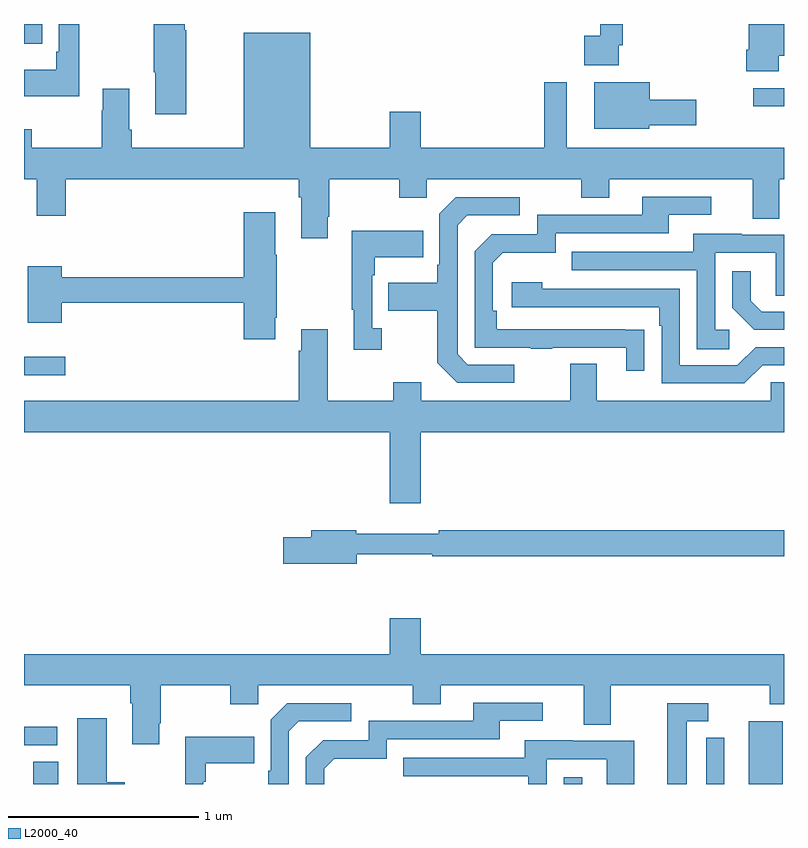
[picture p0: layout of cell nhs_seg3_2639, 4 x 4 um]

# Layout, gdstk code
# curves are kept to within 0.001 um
import gdstk
lib = gdstk.Library(unit=1e-6, precision=1e-09)
def R(c, l, rs):  # rectangles x0, y0, x1, y1
    for r in rs: c.add(gdstk.rectangle(r[:2], r[2:], *l))
def P(c, l, *ps):  # polygons
    for p in ps: c.add(gdstk.Polygon(p, *l))
L2000_40 = (2000, 40)

nhs_seg3_2639 = lib.new_cell('nhs_seg3_2639')
R(nhs_seg3_2639, L2000_40, [(247.049,696.4,247.18,696.518), (249.84,696.4,249.937,696.436), (250.814,696.4,250.993,696.73), (247,696.603,247.174,696.702), (247,698.552,247.216,698.649), (250.839,699.966,251,700.062), (247,700.295,247.097,700.4)])
P(nhs_seg3_2639, L2000_40, [(250.972,700.232),(251,700.232),(251,700.4),(250.814,700.4),(250.814,700.264),(250.802,700.264),(250.802,700.152),(250.972,700.152)],
  [(247.854,700.367),(247.846,700.367),(247.846,700.4),(247.684,700.4),(247.684,700.147),(247.691,700.147),(247.691,699.924),(247.854,699.924)],
  [(247.291,700.4),(247.182,700.4),(247.182,700.255),(247.17,700.255),(247.17,700.159),(247,700.159),(247,700.019),(247.291,700.019)],
  [(250.131,700.288),(250.151,700.288),(250.151,700.4),(250.034,700.4),(250.034,700.337),(249.948,700.337),(249.948,700.184),(250.131,700.184)],
  [(248.506,700.354),(248.156,700.354),(248.156,699.748),(247.568,699.748),(247.568,699.844),(247.555,699.844),(247.555,700.06),(247.415,700.06),(247.415,699.947),(247.408,699.947),(247.408,699.748),(247.041,699.748),(247.041,699.847),(247,699.847),(247,699.584),(247.067,699.584),(247.067,699.39),(247.22,699.39),(247.22,699.584),(248.447,699.584),(248.447,699.488),(248.459,699.488),(248.459,699.273),(248.599,699.273),(248.599,699.385),(248.607,699.385),(248.607,699.584),(248.974,699.584),(248.974,699.485),(249.12,699.485),(249.12,699.584),(249.934,699.584),(249.934,699.485),(250.081,699.485),(250.081,699.584),(250.835,699.584),(250.835,699.376),(250.975,699.376),(250.975,699.584),(251,699.584),(251,699.748),(249.856,699.748),(249.856,700.093),(249.739,700.093),(249.739,699.748),(249.088,699.748),(249.088,699.937),(248.924,699.937),(248.924,699.748),(248.506,699.748)],
  [(250.29,699.866),(250.537,699.866),(250.537,700.001),(250.294,700.001),(250.294,700.093),(250.001,700.093),(250.001,699.848),(250.29,699.848)],
  [(250.265,698.792),(249.488,698.793),(249.488,698.89),(249.468,698.89),(249.468,699.144),(249.521,699.197),(249.798,699.197),(249.798,699.3),(250.393,699.3),(250.393,699.396),(250.618,699.396),(250.618,699.492),(250.253,699.492),(250.253,699.396),(249.702,699.396),(249.702,699.294),(249.462,699.294),(249.372,699.204),(249.372,698.697),(249.667,698.697),(249.667,698.692),(249.779,698.692),(249.779,698.697),(250.169,698.697),(250.169,698.574),(250.265,698.574)],
  [(249.58,698.607),(249.336,698.607),(249.282,698.661),(249.282,699.342),(249.333,699.393),(249.61,699.393),(249.61,699.489),(249.273,699.489),(249.186,699.402),(249.186,699.133),(249.174,699.133),(249.174,699.037),(248.917,699.037),(248.917,698.89),(249.174,698.89),(249.174,698.617),(249.279,698.511),(249.58,698.511)],
  [(248.323,698.854),(248.331,698.854),(248.331,699.185),(248.323,699.185),(248.323,699.409),(248.156,699.409),(248.156,699.068),(247.198,699.068),(247.198,699.124),(247.019,699.124),(247.019,698.828),(247.198,698.828),(247.198,698.932),(248.156,698.932),(248.156,698.742),(248.323,698.742)],
  [(248.884,698.798),(248.832,698.798),(248.832,699.077),(248.845,699.077),(248.845,699.173),(249.101,699.173),(249.101,699.313),(248.724,699.313),(248.724,698.897),(248.735,698.897),(248.735,698.685),(248.884,698.685)],
  [(250.711,698.79),(250.638,698.79),(250.638,699.195),(250.956,699.195),(250.956,698.971),(251,698.971),(251,699.291),(250.777,699.291),(250.777,699.295),(250.523,699.295),(250.523,699.201),(249.883,699.201),(249.883,699.105),(250.542,699.105),(250.542,698.689),(250.711,698.689)],
  [(251,698.886),(250.882,698.886),(250.825,698.943),(250.825,699.1),(250.728,699.1),(250.728,698.906),(250.844,698.79),(251,698.79)],
  [(250.887,698.604),(251,698.604),(251,698.7),(250.851,698.7),(250.755,698.604),(250.452,698.604),(250.452,699.006),(249.728,699.006),(249.728,699.04),(249.567,699.04),(249.567,698.91),(250.343,698.91),(250.343,698.813),(250.356,698.813),(250.356,698.508),(250.791,698.508)],
  [(249.088,698.252),(251,698.252),(251,698.514),(250.929,698.514),(250.929,698.416),(250.015,698.416),(250.015,698.611),(249.875,698.611),(249.875,698.416),(249.091,698.416),(249.091,698.515),(248.944,698.515),(248.944,698.416),(248.599,698.416),(248.599,698.794),(248.459,698.794),(248.459,698.681),(248.447,698.681),(248.447,698.416),(247,698.416),(247,698.252),(248.924,698.252),(248.924,697.878),(249.088,697.878)],
  [(248.752,697.608),(249.148,697.608),(249.148,697.6),(251,697.6),(251,697.736),(249.184,697.736),(249.184,697.717),(248.748,697.717),(248.748,697.736),(248.513,697.736),(248.513,697.7),(248.364,697.7),(248.364,697.558),(248.752,697.558)],
  [(247.711,696.721),(247.719,696.721),(247.719,696.92),(248.086,696.92),(248.086,696.821),(248.232,696.821),(248.232,696.92),(249.046,696.92),(249.046,696.821),(249.193,696.821),(249.193,696.92),(249.947,696.92),(249.947,696.712),(250.087,696.712),(250.087,696.92),(250.924,696.92),(250.924,696.821),(251,696.821),(251,697.084),(249.088,697.084),(249.088,697.273),(248.924,697.273),(248.924,697.084),(247,697.084),(247,696.92),(247.559,696.92),(247.559,696.824),(247.571,696.824),(247.571,696.609),(247.711,696.609)],
  [(248.58,696.48),(248.633,696.533),(248.91,696.533),(248.91,696.636),(249.505,696.636),(249.505,696.732),(249.73,696.732),(249.73,696.828),(249.365,696.828),(249.365,696.732),(248.814,696.732),(248.814,696.63),(248.574,696.63),(248.484,696.54),(248.484,696.4),(248.58,696.4)],
  [(250.489,696.729),(250.6,696.729),(250.6,696.825),(250.385,696.825),(250.385,696.4),(250.489,696.4)],
  [(248.394,696.678),(248.445,696.729),(248.722,696.729),(248.722,696.825),(248.385,696.825),(248.298,696.738),(248.298,696.469),(248.286,696.469),(248.286,696.4),(248.394,696.4)],
  [(247.531,696.41),(247.435,696.41),(247.435,696.745),(247.28,696.745),(247.28,696.4),(247.531,696.4)],
  [(247.944,696.413),(247.957,696.413),(247.957,696.509),(248.213,696.509),(248.213,696.649),(247.848,696.649),(247.848,696.4),(247.944,696.4)],
  [(250.685,696.49),(250.686,696.49),(250.686,696.644),(250.59,696.644),(250.59,696.4),(250.685,696.4)],
  [(249.75,696.531),(250.068,696.531),(250.068,696.4),(250.213,696.4),(250.213,696.627),(249.889,696.627),(249.889,696.631),(249.635,696.631),(249.635,696.537),(248.995,696.537),(248.995,696.441),(249.654,696.441),(249.654,696.4),(249.75,696.4)])

lib.write_gds('nhs_seg3_2639.gds')
